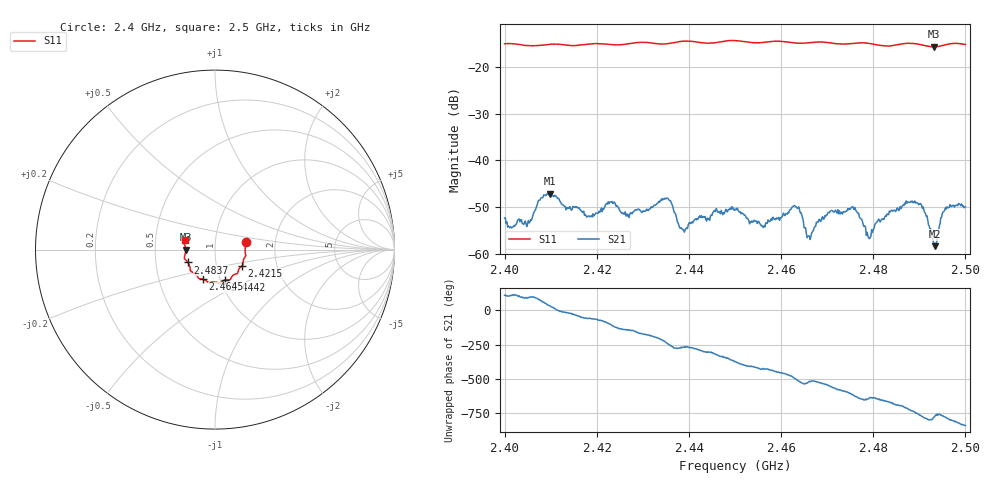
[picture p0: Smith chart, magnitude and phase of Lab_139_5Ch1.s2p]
# Hz S RI R 50
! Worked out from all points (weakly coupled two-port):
!   601 points, 2.4 GHz to 2.5 GHz, reference 50 ohm
!   highest |S21| = -47.07 dB at 2.4098 GHz (marker M1); lowest = -58.3 dB at 2.4933 GHz (marker M2)
!   lowest |S11| = -15.7 dB at 2.4932 GHz (marker M3), VSWR 1.39, Z = 35.9 - j0.0483 ohm
!   |S11| at or under -10 dB: start of sweep to end of sweep
!   S12 and S22 are empty: the file has one direction only
!   S11 on the Smith chart (normalised r, x): 2.4 GHz: 1.41, +0.12; 2.4215 GHz: 1.33, -0.25; 2.4442 GHz: 1.05, -0.37; 2.4645 GHz: 0.83, -0.29; 2.4837 GHz: 0.73, -0.11; 2.5 GHz: 0.71, +0.07
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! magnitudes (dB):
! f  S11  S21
! 2.4 GHz  -15.1  -52.3
! 2.4052 GHz  -15.5  -52.9
! 2.4098 GHz  -15.2  -47.1
! 2.4167 GHz  -15.3  -50.7
! 2.4215 GHz  -15.1  -50.4
! 2.4333 GHz  -15.1  -49.0
! 2.4357 GHz  -15.0  -48.5
! 2.4387 GHz  -14.5  -54.8
! 2.4442 GHz  -15.0  -52.5
! 2.45 GHz  -14.4  -50.6
! 2.456 GHz  -14.8  -54.2
! 2.4645 GHz  -15.0  -51.7
! 2.4667 GHz  -14.8  -55.5
! 2.4755 GHz  -15.0  -49.8
! 2.479 GHz  -15.0  -56.5
! 2.4833 GHz  -15.6  -51.6
! 2.4837 GHz  -15.5  -51.0
! 2.49 GHz  -15.2  -49.4
! 2.4932 GHz  -15.7  -57.6
! 2.4933 GHz  -15.7  -58.3
! 2.4955 GHz  -15.4  -50.6
! 2.5 GHz  -15.3  -49.9
